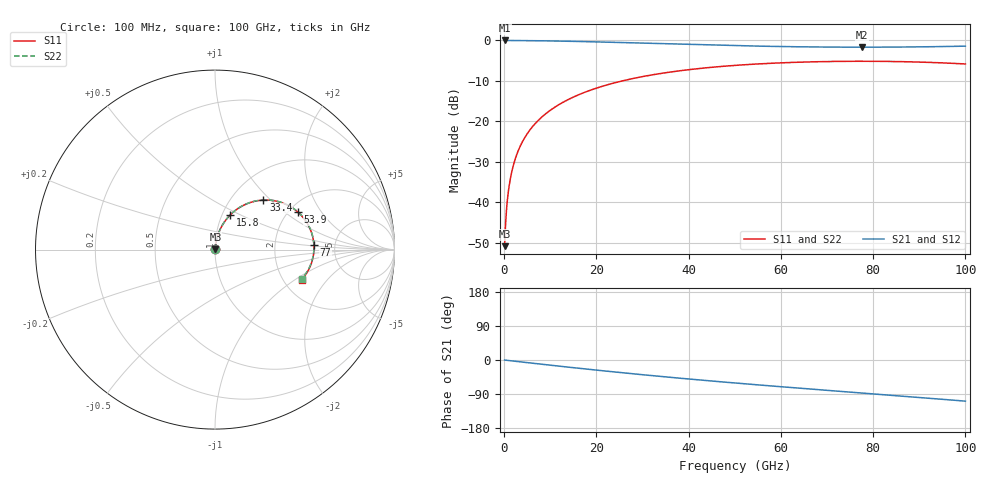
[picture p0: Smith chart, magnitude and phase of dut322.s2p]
! Touchstone file exported from HFSS 2026.1.0
!  File:  C:/ffzhzh/LocalFiles/Ansys_Project_Files/temp_train_RDL_322_1783502735_55944.aedt
!  Generated:  05:26:48 PM Jul  8, 2026
!  Design:  RDL
!  Project:  temp_train_RDL_322_1783502735_55944
! Variables:
!  h_bsmrdl = 2um
!  h_ox = 20um
!  h_rdl = 5um
!  h_sub = 80um
!  h_tmrdl = 3.18um
!  h_tsv = 80um
!  h_via = 3um
!  l_bsmrdl = 300um
!  l_sub = 767.28um
!  l_tmrdl = 367.28um
!  m_sub = 200um
!  pitch = 41.11um
!  r_tsv = 6um
!  s_tmrdl = 10um
!  w_bsmrdl = 18um
!  w_sub = 500um
!  w_tmrdl = 18.53um
!  x_tsv_center1 = 376.545um
!  x_tsv_center2 = 694.545um
!  x_tsv_center3 = 1080.355um
!  x_tsv_center4 = 1398.355um
!  x_tsv_center5 = 1784.165um
!  x_tsv_center6 = 2102.165um
# GHz S MA R 50.000000
! Terminal data exported
! Port[1] = TM_RDL1_1_T1
! Port[2] = TM_RDL1_1_T2
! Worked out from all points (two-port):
!   1000 points, 100 MHz to 100 GHz, reference 50 ohm
!   highest |S21| = -0.02 dB at 100 MHz (marker M1); lowest = -1.7 dB at 77.6 GHz (marker M2)
!   |S21| within 3 dB of the highest: start of sweep to end of sweep
!   lowest |S11| = -50.9 dB at 100 MHz (marker M3), VSWR 1.01, Z = 50.2 + j0.156 ohm
!   |S11| at or under -10 dB: start of sweep to 25.69 GHz
!   |S22| runs from -50.9 to -5.2 dB; largest |S21 - S12| = 2.8e-15
!   S11 on the Smith chart (normalised r, x): 100 MHz: 1.00, +0.00; 15.8 GHz: 1.09, +0.44; 33.4 GHz: 1.40, +0.90; 53.9 GHz: 2.23, +1.25; 77 GHz: 3.44, +0.24; 100 GHz: 2.49, -1.14
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0.1  0.002861 32.9  0.9976 -0.1  0.9976 -0.1  0.002861 32.9
! Gamma 0 0 0 0
! Port Impedance 50 0 50 0
0.4  0.006575 65.5  0.9973 -0.6  0.9973 -0.6  0.006575 65.5
0.9  0.01335 76.0  0.997 -1.3  0.997 -1.3  0.01335 76.0
1.2  0.01748 78.3  0.9968 -1.7  0.9968 -1.7  0.01748 78.3
1.5  0.02164 79.6  0.9967 -2.1  0.9967 -2.1  0.02164 79.6
2  0.0286 80.7  0.9964 -2.8  0.9964 -2.8  0.0286 80.8
2.5  0.03557 81.1  0.996 -3.5  0.996 -3.5  0.03557 81.1
3.9  0.05503 80.7  0.9948 -5.4  0.9948 -5.4  0.05503 80.7
5.9  0.08244 78.7  0.9922 -8.2  0.9922 -8.2  0.08244 78.8
8.5  0.1172 75.6  0.9877 -11.7  0.9877 -11.7  0.1172 75.7
11.8  0.1597 71.5  0.9806 -16.1  0.9806 -16.1  0.1597 71.6
15.8  0.2086 66.5  0.9703 -21.3  0.9703 -21.3  0.2086 66.6
16.8  0.2204 65.3  0.9675 -22.6  0.9675 -22.6  0.2204 65.4
24.2  0.3014 56.3  0.9443 -31.9  0.9443 -31.9  0.3013 56.4
33.4  0.3855 45.7  0.9126 -42.8  0.9126 -42.8  0.3854 45.9
50.1  0.491 28.0  0.8607 -60.7  0.8607 -60.7  0.4909 28.3
53.9  0.5071 24.2  0.8514 -64.5  0.8514 -64.5  0.5071 24.6
66.7  0.5427 12.0  0.8296 -76.9  0.8296 -76.9  0.5426 12.4
77  0.5518 2.5  0.8236 -86.6  0.8236 -86.6  0.5517 3.0
77.6  0.5518 1.9  0.8236 -87.1  0.8236 -87.1  0.5517 2.5
83.4  0.549 -3.5  0.8253 -92.6  0.8253 -92.6  0.549 -2.9
100  0.5108 -19.3  0.8482 -108.6  0.8482 -108.6  0.5107 -18.4
